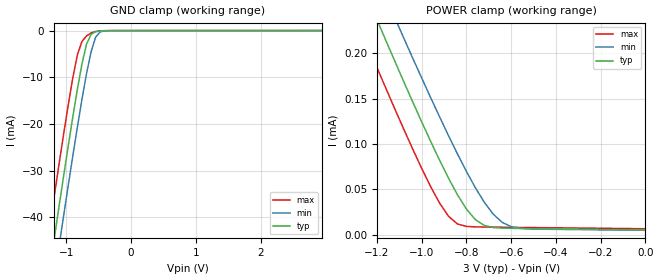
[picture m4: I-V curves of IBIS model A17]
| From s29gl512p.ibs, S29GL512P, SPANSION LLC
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|   Model A17
[Model]  A17
Model_type Input
Vinl =   0.9000V
Vinh =   2.1000V
C_comp   2.0000pF   2.0000pF   2.0000pF
[Temperature Range]   25.0000   85.0000   -40.0000
[Pullup Reference]   3.0000V   2.7000V   3.6000V
[Pulldown Reference]   0.0V   0.0V   0.0V
[POWER Clamp Reference]   3.0000V   2.7000V   3.6000V
[GND Clamp Reference]   0.0V   0.0V   0.0V
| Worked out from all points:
|   GND clamp passes 1 mA (typ) near -0.63 V on its own axis
|   POWER clamp passes 1 mA (typ) near -2.48 V on its own axis
[GND_clamp]
|Voltage   I(typ)   I(min)   I(max)
-3V       -220mA     -228.2mA   -211.3mA
-1.32V    -56.93mA   -65.5mA    -47.83mA
-1.25V    -50.32mA   -58.9mA    -41.21mA
-1.18V    -43.74mA   -52.32mA   -34.65mA
-1.11V    -37.23mA   -45.8mA    -28.18mA
-1.04V    -30.8mA    -39.33mA   -21.83mA
-830mV    -12.45mA   -20.55mA   -5.141mA
-690mV    -2.902mA   -9.225mA   -1.141mA
-620mV    -799uA     -4.553mA   -504uA
-550mV    -245.4uA   -1.426mA   -180.7uA
-410mV    -32.07uA   -60.5uA    -19.22uA
2.95V     5.571uA    5.787uA    5.15uA
[POWER_clamp]
|Voltage   I(typ)   I(min)   I(max)
-3V       1.316mA    1.341mA    1.27mA
-1.28V    283.2uA    329.3uA    230.8uA
-1.2V     236.9uA    283.9uA    184.3uA
-1.16V    213.9uA    261.3uA    161.4uA
-1.12V    191.2uA    238.9uA    138.7uA
-1.08V    168.6uA    216.6uA    116.4uA
-960mV    103.1uA    151.2uA    53.26uA
-880mV    62.54uA    109.2uA    20.58uA
-760mV    16.85uA    51.99uA    8.889uA
-640mV    7.518uA    13.85uA    8.504uA
-520mV    7.055uA    6.7uA      8.192uA
0V        5.701uA    5.137uA    6.84uA
